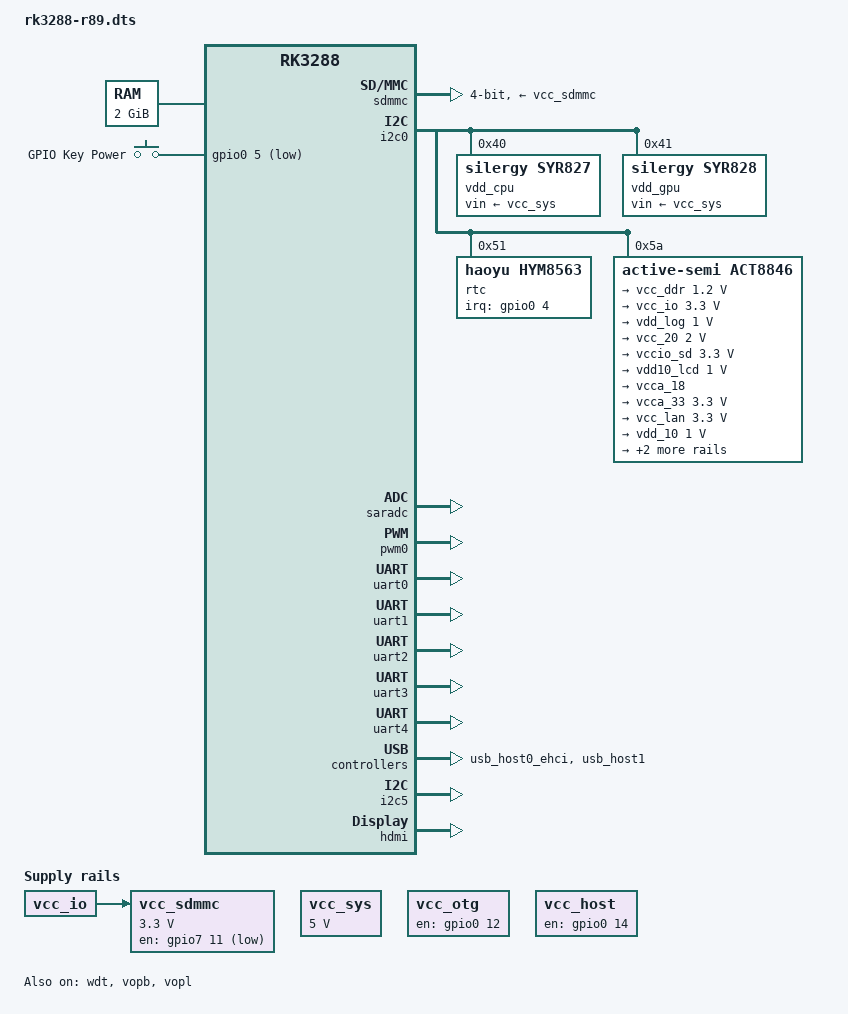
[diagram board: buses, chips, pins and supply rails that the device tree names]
/*
 * This program is free software; you can redistribute it and/or modify
 * it under the terms of the GNU General Public License as published by
 * the Free Software Foundation; either version 2 of the License, or
 * (at your option) any later version.
 *
 * This program is distributed in the hope that it will be useful,
 * but WITHOUT ANY WARRANTY; without even the implied warranty of
 * MERCHANTABILITY or FITNESS FOR A PARTICULAR PURPOSE.  See the
 * GNU General Public License for more details.
 */

/dts-v1/;
#include <dt-bindings/pwm/pwm.h>
#include "rk3288.dtsi"

/ {
	compatible = "netxeon,r89", "rockchip,rk3288";

	memory {
		reg = <0x0 0x80000000>;
	};

	vcc_sys: sys-regulator {
		compatible = "regulator-fixed";
		regulator-name = "sys-supply";
		regulator-min-microvolt = <5000000>;
		regulator-max-microvolt = <5000000>;
		regulator-always-on;
		regulator-boot-on;
	};

	vcc_sdmmc: sdmmc-regulator {
		compatible = "regulator-fixed";
		regulator-name = "sdmmc-supply";
		regulator-min-microvolt = <3300000>;
		regulator-max-microvolt = <3300000>;
		gpio = <&gpio7 11 GPIO_ACTIVE_LOW>;
		startup-delay-us = <100000>;
		vin-supply = <&vcc_io>;
	};

	gpio-keys {
		compatible = "gpio-keys";
		#address-cells = <1>;
		#size-cells = <0>;
		autorepeat;

		pinctrl-names = "default";
		pinctrl-0 = <&pwrbtn>;

		button@0 {
			gpios = <&gpio0 5 GPIO_ACTIVE_LOW>;
			linux,code = <116>;
			label = "GPIO Key Power";
			linux,input-type = <1>;
			gpio-key,wakeup = <1>;
			debounce-interval = <100>;
		};
	};

	vcc_otg: vcc-otg-regulator {
		compatible = "regulator-fixed";
		enable-active-high;
		gpio = <&gpio0 12 GPIO_ACTIVE_HIGH>;
		pinctrl-names = "default";
		pinctrl-0 = <&otg_vbus_drv>;
		regulator-name = "vcc_otg";
		regulator-always-on;
		regulator-boot-on;
	};

	/* This turns on USB vbus for both host0 (ehci) and host1 (dwc2) */
	vcc_host: vcc-host-regulator {
		compatible = "regulator-fixed";
		enable-active-high;
		gpio = <&gpio0 14 GPIO_ACTIVE_HIGH>;
		pinctrl-names = "default";
		pinctrl-0 = <&host_vbus_drv>;
		regulator-name = "vcc_host";
		regulator-always-on;
		regulator-boot-on;
	};
};

&cpu0 {
	cpu0-supply = <&vdd_cpu>;
};

&sdmmc {
	bus-width = <4>;
	cap-mmc-highspeed;
	cap-sd-highspeed;
	card-detect-delay = <200>;
	disable-wp;
	num-slots = <1>;
	pinctrl-names = "default";
	pinctrl-0 = <&sdmmc_clk &sdmmc_cmd &sdmmc_cd &sdmmc_bus4>;

	vmmc-supply = <&vcc_sdmmc>;
	vqmmc-supply = <&vccio_sd>;

	status = "okay";
};

&i2c0 {
	status = "okay";

	vdd_cpu: pmic@40 {
		compatible = "silergy,syr827";
		reg = <0x40>;

		regulator-name = "VDD_CPU";
		regulator-min-microvolt = <850000>;
		regulator-max-microvolt = <1350000>;
		regulator-always-on;
		regulator-boot-on;

		vin-supply = <&vcc_sys>;
	};

	vdd_gpu: pmic@41 {
		compatible = "silergy,syr828";
		reg = <0x41>;

		regulator-name = "VDD_GPU";
		regulator-min-microvolt = <850000>;
		regulator-max-microvolt = <1350000>;
		regulator-always-on;
		regulator-boot-on;

		vin-supply = <&vcc_sys>;
	};

	rtc@51 {
		compatible = "haoyu,hym8563";
		reg = <0x51>;

		interrupt-parent = <&gpio0>;
		interrupts = <4 IRQ_TYPE_EDGE_FALLING>;

		pinctrl-names = "default";
		pinctrl-0 = <&pmic_int>;

		#clock-cells = <0>;
		clock-output-names = "xin32k";
	};

	act8846: pmic@5a {
		compatible = "active-semi,act8846";
		reg = <0x5a>;
		status = "okay";

		regulators {
			vcc_ddr: REG1 {
				regulator-name = "VCC_DDR";
				regulator-min-microvolt = <1200000>;
				regulator-max-microvolt = <1200000>;
				regulator-always-on;
			};

			vcc_io: REG2 {
				regulator-name = "VCC_IO";
				regulator-min-microvolt = <3300000>;
				regulator-max-microvolt = <3300000>;
				regulator-always-on;
			};

			vdd_log: REG3 {
				regulator-name = "VDD_LOG";
				regulator-min-microvolt = <1000000>;
				regulator-max-microvolt = <1000000>;
				regulator-always-on;
			};

			vcc_20: REG4 {
				regulator-name = "VCC_20";
				regulator-min-microvolt = <2000000>;
				regulator-max-microvolt = <2000000>;
				regulator-always-on;
			};

			vccio_sd: REG5 {
				regulator-name = "VCCIO_SD";
				regulator-min-microvolt = <3300000>;
				regulator-max-microvolt = <3300000>;
				regulator-always-on;
			};

			vdd10_lcd: REG6 {
				regulator-name = "VDD10_LCD";
				regulator-min-microvolt = <1000000>;
				regulator-max-microvolt = <1000000>;
				regulator-always-on;
			};

			vcca_18: REG7 {
				regulator-name = "VCCA_18"; /*FIXME */
/*				regulator-min-microvolt = <1800000>;
				regulator-max-microvolt = <1800000>; */
				regulator-always-on;
			};

			vcca_33: REG8 {
				regulator-name = "VCCA_33";
				regulator-min-microvolt = <3300000>;
				regulator-max-microvolt = <3300000>;
				regulator-always-on;
			};

			vcc_lan: REG9 {
				regulator-name = "VCC_LAN";
				regulator-min-microvolt = <3300000>;
				regulator-max-microvolt = <3300000>;
				regulator-always-on;
			};

			vdd_10: REG10 {
				regulator-name = "VDD_10";
				regulator-min-microvolt = <1000000>;
				regulator-max-microvolt = <1000000>;
				regulator-always-on;
			};

			vcc_18: REG11 {
				regulator-name = "VCC_18";
				regulator-min-microvolt = <1800000>;
				regulator-max-microvolt = <1800000>;
				regulator-always-on;
			};

			vcc18_lcd: REG12 {
				regulator-name = "VCC18_LCD";
				regulator-min-microvolt = <1800000>;
				regulator-max-microvolt = <1800000>;
				regulator-always-on;
			};
		};
	};
};

&saradc {
	status = "okay";
};

&wdt {
	status = "okay";
};

&pwm0 {
	status = "okay";
};

&uart0 {
	status = "okay";
};

&uart1 {
	status = "okay";
};

&uart2 {
	status = "okay";
};

&uart3 {
	status = "okay";
};

&uart4 {
	status = "okay";
};

&pinctrl {
	buttons {
		pwrbtn: pwrbtn {
			rockchip,pins = <0 5 RK_FUNC_GPIO &pcfg_pull_up>;
		};
	};

	pmic {
		pmic_int: pmic-int {
			rockchip,pins = <RK_GPIO0 4 RK_FUNC_GPIO &pcfg_pull_up>;
		};
	};

	usb {
		host_vbus_drv: host-vbus-drv {
			rockchip,pins = <0 14 RK_FUNC_GPIO &pcfg_pull_none>;
		};

		otg_vbus_drv: otg-vbus-drv {
			rockchip,pins = <0 12 RK_FUNC_GPIO &pcfg_pull_none>;
		};
	};
};

&usb_host0_ehci {
	status = "okay";
};

&usb_host1 {
	status = "okay";
};

&i2c5 {
	status = "okay";
};

&vopb {
	status = "okay";
};

&vopb_mmu {
	status = "okay";
};

&vopl {
	status = "okay";
};

&vopl_mmu {
	status = "okay";
};

&hdmi {
	status = "okay";
};
